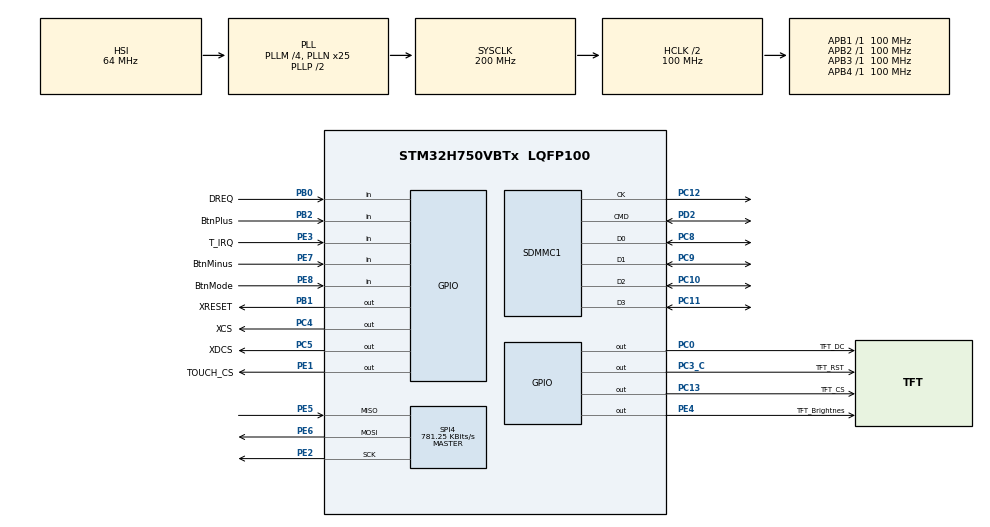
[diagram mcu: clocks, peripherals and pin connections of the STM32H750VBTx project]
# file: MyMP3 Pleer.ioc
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FATFS._CODE_PAGE=866
FATFS._FS_EXFAT=1
FATFS._MAX_SS=4096
FATFS._USE_FIND=1
FATFS._USE_LFN=2
FREERTOS.HEAP_NUMBER=4
FREERTOS.Tasks01=defaultTask,0,2048,StartDefaultTask,Default,NULL,Dynamic,NULL,NULL;myTask02,-3,512,StartTask02,Default,NULL,Dynamic,NULL,NULL;myTask03,-3,128,StartTask03,Default,NULL,Dynamic,NULL,NULL
FREERTOS.configENABLE_FPU=1
FREERTOS.configTOTAL_HEAP_SIZE=30480
Mcu.Family=STM32H7
Mcu.Name=STM32H750VBTx
Mcu.Package=LQFP100
NVIC.PriorityGroup=NVIC_PRIORITYGROUP_4
NVIC.SDMMC1_IRQn=true\:5\:0\:false\:false\:true\:true\:true\:true
NVIC.TIM1_UP_IRQn=true\:15\:0\:false\:false\:true\:false\:false\:true
NVIC.TimeBase=TIM1_UP_IRQn
NVIC.TimeBaseIP=TIM1
PA13\ (JTMS/SWDIO).Mode=Serial_Wire
PA13\ (JTMS/SWDIO).Signal=DEBUG_JTMS-SWDIO
PA14\ (JTCK/SWCLK).Mode=Serial_Wire
PA14\ (JTCK/SWCLK).Signal=DEBUG_JTCK-SWCLK
PB0.GPIO_Label=DREQ
PB0.Signal=GPIO_Input
PB1.GPIO_Label=XRESET
PB1.GPIO_PuPd=GPIO_NOPULL
PB1.GPIO_Speed=GPIO_SPEED_FREQ_MEDIUM
PB1.PinState=GPIO_PIN_SET
PB1.Signal=GPIO_Output
PB2.GPIO_Label=BtnPlus
PB2.GPIO_PuPd=GPIO_PULLUP
PB2.Signal=GPIO_Input
PC0.GPIO_Label=TFT_DC
PC0.GPIO_Speed=GPIO_SPEED_FREQ_HIGH
PC0.Signal=GPIO_Output
PC10.GPIO_PuPd=GPIO_PULLUP
PC10.Mode=SD_4_bits_Wide_bus
PC10.Signal=SDMMC1_D2
PC11.GPIO_PuPd=GPIO_PULLUP
PC11.Mode=SD_4_bits_Wide_bus
PC11.Signal=SDMMC1_D3
PC12.GPIO_PuPd=GPIO_NOPULL
PC12.Mode=SD_4_bits_Wide_bus
PC12.Signal=SDMMC1_CK
PC13.GPIO_Label=TFT_CS
PC13.GPIO_Speed=GPIO_SPEED_FREQ_LOW
PC13.PinState=GPIO_PIN_SET
PC13.Signal=GPIO_Output
PC3_C.GPIO_Label=TFT_RST
PC3_C.GPIO_Speed=GPIO_SPEED_FREQ_HIGH
PC3_C.Signal=GPIO_Output
PC4.GPIO_Label=XCS
PC4.GPIO_Speed=GPIO_SPEED_FREQ_HIGH
PC4.PinState=GPIO_PIN_SET
PC4.Signal=GPIO_Output
PC5.GPIO_Label=XDCS
PC5.GPIO_Speed=GPIO_SPEED_FREQ_HIGH
PC5.PinState=GPIO_PIN_SET
PC5.Signal=GPIO_Output
PC8.GPIO_PuPd=GPIO_PULLUP
PC8.Mode=SD_4_bits_Wide_bus
PC8.Signal=SDMMC1_D0
PC9.GPIO_PuPd=GPIO_PULLUP
PC9.Mode=SD_4_bits_Wide_bus
PC9.Signal=SDMMC1_D1
PD2.GPIO_PuPd=GPIO_PULLUP
PD2.Mode=SD_4_bits_Wide_bus
PD2.Signal=SDMMC1_CMD
PE1.GPIO_Label=TOUCH_CS
PE1.GPIO_Speed=GPIO_SPEED_FREQ_HIGH
PE1.PinState=GPIO_PIN_SET
PE1.Signal=GPIO_Output
PE2.GPIO_Speed=GPIO_SPEED_FREQ_HIGH
PE2.Mode=Full_Duplex_Master
PE2.Signal=SPI4_SCK
PE3.GPIO_Label=T_IRQ
PE3.Signal=GPIO_Input
PE4.GPIO_Label=TFT_Brightnes
PE4.PinState=GPIO_PIN_SET
PE4.Signal=GPIO_Output
PE5.GPIO_Speed=GPIO_SPEED_FREQ_HIGH
PE5.Mode=Full_Duplex_Master
PE5.Signal=SPI4_MISO
PE6.GPIO_Speed=GPIO_SPEED_FREQ_HIGH
PE6.Mode=Full_Duplex_Master
PE6.Signal=SPI4_MOSI
PE7.GPIO_Label=BtnMinus
PE7.GPIO_PuPd=GPIO_PULLUP
PE7.Signal=GPIO_Input
PE8.GPIO_Label=BtnMode
PE8.GPIO_PuPd=GPIO_PULLUP
PE8.Signal=GPIO_Input
PH0-OSC_IN\ (PH0).Mode=HSE-External-Oscillator
PH0-OSC_IN\ (PH0).Signal=RCC_OSC_IN
PH1-OSC_OUT\ (PH1).Mode=HSE-External-Oscillator
PH1-OSC_OUT\ (PH1).Signal=RCC_OSC_OUT
ProjectManager.HeapSize=0x6000
ProjectManager.StackSize=0x3000
ProjectManager.TargetToolchain=MDK-ARM V5.32
RCC.ADCFreq_Value=40000000
RCC.APB1Freq_Value=100000000
RCC.APB2Freq_Value=100000000
RCC.APB3Freq_Value=100000000
RCC.APB4Freq_Value=100000000
RCC.CortexFreq_Value=200000000
RCC.DIVM1=4
RCC.DIVN1=25
RCC.DIVN2=100
RCC.DIVP2=5
RCC.DIVQ1=4
RCC.DIVQ2=4
RCC.HCLKFreq_Value=100000000
RCC.HPRE=RCC_HCLK_DIV2
RCC.HSE_VALUE=12000000
RCC.PLL1_VCO_SEL=RCC_PLL1VCOWIDE
RCC.PLL2FRACN=0
RCC.PLL3FRACN=0
RCC.PLLFRACN=0
RCC.SPI123CLockSelection=RCC_SPI123CLKSOURCE_PLL2
RCC.SYSCLKFreq_VALUE=200000000
RCC.SYSCLKSource=RCC_SYSCLKSOURCE_PLLCLK
RCC.Spi45ClockSelection=RCC_SPI45CLKSOURCE_PLL2
RCC.USBFreq_Value=100000000
SDMMC1.ClockDiv=10
SPI4.BaudRatePrescaler=SPI_BAUDRATEPRESCALER_64
SPI4.CalculateBaudRate=781.25 KBits/s
SPI4.DataSize=SPI_DATASIZE_8BIT
SPI4.Direction=SPI_DIRECTION_2LINES
SPI4.Mode=SPI_MODE_MASTER
SPI4.VirtualType=VM_MASTER
VP_FATFS_VS_SDIO.Mode=SDIO
VP_FREERTOS_VS_CMSIS_V1.Mode=CMSIS_V1
VP_SYS_VS_tim1.Mode=TIM1
board=custom

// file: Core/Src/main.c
/* USER CODE BEGIN Header */
/**
  ******************************************************************************
  * @file           : main.c
  * @brief          : Main program body
  ******************************************************************************
  * @attention
  *
  * Copyright (c) 2024 STMicroelectronics.
  * All rights reserved.
  *
  * This software is licensed under terms that can be found in the LICENSE file
  * in the root directory of this software component.
  * If no LICENSE file comes with this software, it is provided AS-IS.
  *
  ******************************************************************************
  */
/* USER CODE END Header */
#include "main.h"
#include "cmsis_os.h"
#include "fatfs.h"

/* USER CODE BEGIN Includes */
#include "MyVS1053b.h"
#include "MySPI.h"
#include "MyCommonFCs.h"
#include "SPI_ILI9341.h"
#include "Buttons.h"
#include "xpt2046.h"
/* USER CODE END Includes */

SD_HandleTypeDef hsd1;

SPI_HandleTypeDef hspi4;

osThreadId defaultTaskHandle;
osThreadId myTask02Handle;
osThreadId myTask03Handle;
/* USER CODE BEGIN PV */

uint8_t SPI_RX_DATA[8] = {};
uint8_t SPI_TX_DATA[8] = {vs_READ,vs_MODE,0,0}; //vs_STATUS vs_MODE
uint8_t PlaybackBuf[_MAX_SS] = {};
FRESULT SdOpRes;
FRESULT fr;     /* Return value */
FRESULT fileReadResult;		// Результат выполнения фуекции чтения файла
UINT ByteWriten = 0;
SCI_StatusTypedef SCI_Status = SCI_Ok;
uint16_t SciRegContent = 0;
uint32_t BtnPlusCounter = 0;
uint32_t BtnMinusCounter = 0;
uint32_t BtnModeCounter = 0;
BtnStateTypedef BtnPlusState;
BtnStateTypedef BtnMinusState;
BtnStateTypedef BtnModeState = BtnReset;
BtnStateTypedef BtnModeStateOld = BtnReset;
//uint16_t i,j;
extern uint16_t TFT9341_WIDTH;
extern uint16_t TFT9341_HEIGHT;

uint8_t FrameBufer[MyDisplWidth * MyDisplHeight * 2] = {};

	// Переменные для тачскрина
  uint8_t flag_press = 1;
  uint32_t time_press = 0;
  uint16_t x_toch = 0;
  uint16_t y_toch = 0;

	RequestsTypedef FrBufSendReq = NoReq; // Флаг запроса отправки кадрового буфера
	RequestsTypedef NextTrackReq = NoReq; // Флаг запроса следующего трека
	RequestsTypedef PauseReq = NoReq; 		// Флаг запроса паузы
	RequestsTypedef PlayPauseDrawReq = NoReq; // Флаг запроса отрисовки кнопки Play/Pause
	uint32_t PauseReqDelay = 1500;
	RequestsTypedef VolChangeReq = NoReq; // Флаг запроса изменения громкости
	RequestsTypedef VolDrawReq = NoReq; // Флаг запроса отрисовки полосы громкости
	RequestsTypedef PrintPageReq = ThereIsReq; // Флаг запроса печати новой страницы на экран
	RequestsTypedef HighlightingReq = ThereIsReq; // Флаг запроса выделения строки на экране
	RequestsTypedef EqualizerChangeReq = NoReq; 	// Флаг запроса изменения параметров эквалайзера

	uint8_t VolumeCurrent = 30; // Текущее значение громкости
	uint32_t CurrentPlayFile = 0;		// Порядковый номер Текущего воспроизводимого файла

	FilManParamTypedef FilManParam={
		.MountState = CardIsUnmounted,
		.FrBuf = FrameBufer,
		.FirstPrintedItem = 0,
		.HighlightedItemNumber = 0,
		.OpenDirState = DirClosed,
		.RreadDirState = DirNotRread,
		.FileOpenState = FileNotOpened,
		.FileSize = 0,
		.FileSizeRead = 0,
		.PlaybackBufBytesFilled = 0,
		.BytesRead = 0,
		.PlaybackBufTxIndex = 0,
		.Screen = MainScreen,
		.DrawHF_GainBarReq = NoReq, 	// Флаг запроса печати бара усиления высоких частот
		.DrawHF_BorderBarReq = NoReq, // Флаг запроса печати бара границы высоких частот
		.DrawLF_GainBarReq = NoReq,   // Флаг запроса печати бара усиления низких частот
		.DrawLF_BorderBarReq = NoReq, // Флаг запроса печати бара границы низких частот
		.ProgressDrawReq= NoReq, 			// Флаг запроса отрисовки полосы воспроизведения файла

	};

	uint32_t DirItemsCounter = 0;
	uint8_t HF_Gain = 0x01;
	uint8_t HF_Border =0x04;
	uint8_t LF_Gain = 0x01;
	uint8_t LF_Border = 0x08;
	uint32_t ProgressTimer = 5000;
	uint8_t DisplayState = 1;
	uint8_t DisplDelay = 0;
	RequestsTypedef DisplOnOffReq = NoReq; 	// Флаг запроса вкл/выкл дисплея

/* USER CODE END PV */

void SystemClock_Config(void);
static void MX_GPIO_Init(void);
static void MX_SDMMC1_SD_Init(void);
static void MX_SPI4_Init(void);
void StartDefaultTask(void const * argument);
void StartTask02(void const * argument);
void StartTask03(void const * argument);

int main(void)
{

  /* MCU Configuration--------------------------------------------------------*/

  /* Reset of all peripherals, Initializes the Flash interface and the Systick. */
  HAL_Init();

  /* Configure the system clock */
  SystemClock_Config();

  /* Initialize all configured peripherals */
  MX_GPIO_Init();
  MX_SDMMC1_SD_Init();
  MX_FATFS_Init();
  MX_SPI4_Init();

  /* Create the thread(s) */
  /* definition and creation of defaultTask */
  osThreadDef(defaultTask, StartDefaultTask, osPriorityNormal, 0, 2048);
  defaultTaskHandle = osThreadCreate(osThread(defaultTask), NULL);

  /* definition and creation of myTask02 */
  osThreadDef(myTask02, StartTask02, osPriorityIdle, 0, 512);
  myTask02Handle = osThreadCreate(osThread(myTask02), NULL);

  /* definition and creation of myTask03 */
  osThreadDef(myTask03, StartTask03, osPriorityIdle, 0, 128);
  myTask03Handle = osThreadCreate(osThread(myTask03), NULL);

  /* Start scheduler */
  osKernelStart();

  /* We should never get here as control is now taken by the scheduler */
  /* Infinite loop */
  while (1)
  {

  }
}

void SystemClock_Config(void)
{
  RCC_OscInitTypeDef RCC_OscInitStruct = {0};
  RCC_ClkInitTypeDef RCC_ClkInitStruct = {0};

  /** Supply configuration update enable
  */
  HAL_PWREx_ConfigSupply(PWR_LDO_SUPPLY);
  /** Configure the main internal regulator output voltage
  */
  __HAL_PWR_VOLTAGESCALING_CONFIG(PWR_REGULATOR_VOLTAGE_SCALE3);

  while(!__HAL_PWR_GET_FLAG(PWR_FLAG_VOSRDY)) {}
  /** Macro to configure the PLL clock source
  */
  __HAL_RCC_PLL_PLLSOURCE_CONFIG(RCC_PLLSOURCE_HSI);
  /** Initializes the RCC Oscillators according to the specified parameters
  * in the RCC_OscInitTypeDef structure.
  */
  RCC_OscInitStruct.OscillatorType = RCC_OSCILLATORTYPE_HSI;
  RCC_OscInitStruct.HSIState = RCC_HSI_DIV1;
  RCC_OscInitStruct.HSICalibrationValue = RCC_HSICALIBRATION_DEFAULT;
  RCC_OscInitStruct.PLL.PLLState = RCC_PLL_ON;
  RCC_OscInitStruct.PLL.PLLSource = RCC_PLLSOURCE_HSI;
  RCC_OscInitStruct.PLL.PLLM = 4;
  RCC_OscInitStruct.PLL.PLLN = 25;
  RCC_OscInitStruct.PLL.PLLP = 2;
  RCC_OscInitStruct.PLL.PLLQ = 4;
  RCC_OscInitStruct.PLL.PLLR = 2;
  RCC_OscInitStruct.PLL.PLLRGE = RCC_PLL1VCIRANGE_3;
  RCC_OscInitStruct.PLL.PLLVCOSEL = RCC_PLL1VCOWIDE;
  RCC_OscInitStruct.PLL.PLLFRACN = 0;
  if (HAL_RCC_OscConfig(&RCC_OscInitStruct) != HAL_OK)
  {
    Error_Handler();
  }
  /** Initializes the CPU, AHB and APB buses clocks
  */
  RCC_ClkInitStruct.ClockType = RCC_CLOCKTYPE_HCLK|RCC_CLOCKTYPE_SYSCLK
                              |RCC_CLOCKTYPE_PCLK1|RCC_CLOCKTYPE_PCLK2
                              |RCC_CLOCKTYPE_D3PCLK1|RCC_CLOCKTYPE_D1PCLK1;
  RCC_ClkInitStruct.SYSCLKSource = RCC_SYSCLKSOURCE_PLLCLK;
  RCC_ClkInitStruct.SYSCLKDivider = RCC_SYSCLK_DIV1;
  RCC_ClkInitStruct.AHBCLKDivider = RCC_HCLK_DIV2;
  RCC_ClkInitStruct.APB3CLKDivider = RCC_APB3_DIV1;
  RCC_ClkInitStruct.APB1CLKDivider = RCC_APB1_DIV1;
  RCC_ClkInitStruct.APB2CLKDivider = RCC_APB2_DIV1;
  RCC_ClkInitStruct.APB4CLKDivider = RCC_APB4_DIV1;

  if (HAL_RCC_ClockConfig(&RCC_ClkInitStruct, FLASH_LATENCY_2) != HAL_OK)
  {
    Error_Handler();
  }
}

static void MX_SDMMC1_SD_Init(void)
{

  hsd1.Instance = SDMMC1;
  hsd1.Init.ClockEdge = SDMMC_CLOCK_EDGE_RISING;
  hsd1.Init.ClockPowerSave = SDMMC_CLOCK_POWER_SAVE_DISABLE;
  hsd1.Init.BusWide = SDMMC_BUS_WIDE_4B;
  hsd1.Init.HardwareFlowControl = SDMMC_HARDWARE_FLOW_CONTROL_DISABLE;
  hsd1.Init.ClockDiv = 10;

}

static void MX_SPI4_Init(void)
{

  /* SPI4 parameter configuration*/
  hspi4.Instance = SPI4;
  hspi4.Init.Mode = SPI_MODE_MASTER;
  hspi4.Init.Direction = SPI_DIRECTION_2LINES;
  hspi4.Init.DataSize = SPI_DATASIZE_8BIT;
  hspi4.Init.CLKPolarity = SPI_POLARITY_LOW;
  hspi4.Init.CLKPhase = SPI_PHASE_1EDGE;
  hspi4.Init.NSS = SPI_NSS_SOFT;
  hspi4.Init.BaudRatePrescaler = SPI_BAUDRATEPRESCALER_64;
  hspi4.Init.FirstBit = SPI_FIRSTBIT_MSB;
  hspi4.Init.TIMode = SPI_TIMODE_DISABLE;
  hspi4.Init.CRCCalculation = SPI_CRCCALCULATION_DISABLE;
  hspi4.Init.CRCPolynomial = 0x0;
  hspi4.Init.NSSPMode = SPI_NSS_PULSE_ENABLE;
  hspi4.Init.NSSPolarity = SPI_NSS_POLARITY_LOW;
  hspi4.Init.FifoThreshold = SPI_FIFO_THRESHOLD_01DATA;
  hspi4.Init.TxCRCInitializationPattern = SPI_CRC_INITIALIZATION_ALL_ZERO_PATTERN;
  hspi4.Init.RxCRCInitializationPattern = SPI_CRC_INITIALIZATION_ALL_ZERO_PATTERN;
  hspi4.Init.MasterSSIdleness = SPI_MASTER_SS_IDLENESS_00CYCLE;
  hspi4.Init.MasterInterDataIdleness = SPI_MASTER_INTERDATA_IDLENESS_00CYCLE;
  hspi4.Init.MasterReceiverAutoSusp = SPI_MASTER_RX_AUTOSUSP_DISABLE;
  hspi4.Init.MasterKeepIOState = SPI_MASTER_KEEP_IO_STATE_DISABLE;
  hspi4.Init.IOSwap = SPI_IO_SWAP_DISABLE;
  if (HAL_SPI_Init(&hspi4) != HAL_OK)
  {
    Error_Handler();
  }

}

static void MX_GPIO_Init(void)
{
  GPIO_InitTypeDef GPIO_InitStruct = {0};

  /* GPIO Ports Clock Enable */
  __HAL_RCC_GPIOE_CLK_ENABLE();
  __HAL_RCC_GPIOC_CLK_ENABLE();
  __HAL_RCC_GPIOH_CLK_ENABLE();
  __HAL_RCC_GPIOB_CLK_ENABLE();
  __HAL_RCC_GPIOA_CLK_ENABLE();
  __HAL_RCC_GPIOD_CLK_ENABLE();

  /*Configure GPIO pin Output Level */
  HAL_GPIO_WritePin(GPIOE, TFT_Brightnes_Pin|TOUCH_CS_Pin, GPIO_PIN_SET);

  /*Configure GPIO pin Output Level */
  HAL_GPIO_WritePin(GPIOC, TFT_CS_Pin|XCS_Pin|XDCS_Pin, GPIO_PIN_SET);

  /*Configure GPIO pin Output Level */
  HAL_GPIO_WritePin(GPIOC, TFT_DC_Pin|TFT_RST_Pin, GPIO_PIN_RESET);

  /*Configure GPIO pin Output Level */
  HAL_GPIO_WritePin(XRESET_GPIO_Port, XRESET_Pin, GPIO_PIN_SET);

  /*Configure GPIO pin : T_IRQ_Pin */
  GPIO_InitStruct.Pin = T_IRQ_Pin;
  GPIO_InitStruct.Mode = GPIO_MODE_INPUT;
  GPIO_InitStruct.Pull = GPIO_NOPULL;
  HAL_GPIO_Init(T_IRQ_GPIO_Port, &GPIO_InitStruct);

  /*Configure GPIO pin : TFT_Brightnes_Pin */
  GPIO_InitStruct.Pin = TFT_Brightnes_Pin;
  GPIO_InitStruct.Mode = GPIO_MODE_OUTPUT_PP;
  GPIO_InitStruct.Pull = GPIO_NOPULL;
  GPIO_InitStruct.Speed = GPIO_SPEED_FREQ_LOW;
  HAL_GPIO_Init(TFT_Brightnes_GPIO_Port, &GPIO_InitStruct);

  /*Configure GPIO pin : TFT_CS_Pin */
  GPIO_InitStruct.Pin = TFT_CS_Pin;
  GPIO_InitStruct.Mode = GPIO_MODE_OUTPUT_PP;
  GPIO_InitStruct.Pull = GPIO_NOPULL;
  GPIO_InitStruct.Speed = GPIO_SPEED_FREQ_LOW;
  HAL_GPIO_Init(TFT_CS_GPIO_Port, &GPIO_InitStruct);

  /*Configure GPIO pins : TFT_DC_Pin TFT_RST_Pin XCS_Pin XDCS_Pin */
  GPIO_InitStruct.Pin = TFT_DC_Pin|TFT_RST_Pin|XCS_Pin|XDCS_Pin;
  GPIO_InitStruct.Mode = GPIO_MODE_OUTPUT_PP;
  GPIO_InitStruct.Pull = GPIO_NOPULL;
  GPIO_InitStruct.Speed = GPIO_SPEED_FREQ_HIGH;
  HAL_GPIO_Init(GPIOC, &GPIO_InitStruct);

  /*Configure GPIO pin : DREQ_Pin */
  GPIO_InitStruct.Pin = DREQ_Pin;
  GPIO_InitStruct.Mode = GPIO_MODE_INPUT;
  GPIO_InitStruct.Pull = GPIO_NOPULL;
  HAL_GPIO_Init(DREQ_GPIO_Port, &GPIO_InitStruct);

  /*Configure GPIO pin : XRESET_Pin */
  GPIO_InitStruct.Pin = XRESET_Pin;
  GPIO_InitStruct.Mode = GPIO_MODE_OUTPUT_PP;
  GPIO_InitStruct.Pull = GPIO_NOPULL;
  GPIO_InitStruct.Speed = GPIO_SPEED_FREQ_MEDIUM;
  HAL_GPIO_Init(XRESET_GPIO_Port, &GPIO_InitStruct);

  /*Configure GPIO pin : BtnPlus_Pin */
  GPIO_InitStruct.Pin = BtnPlus_Pin;
  GPIO_InitStruct.Mode = GPIO_MODE_INPUT;
  GPIO_InitStruct.Pull = GPIO_PULLUP;
  HAL_GPIO_Init(BtnPlus_GPIO_Port, &GPIO_InitStruct);

  /*Configure GPIO pins : BtnMinus_Pin BtnMode_Pin */
  GPIO_InitStruct.Pin = BtnMinus_Pin|BtnMode_Pin;
  GPIO_InitStruct.Mode = GPIO_MODE_INPUT;
  GPIO_InitStruct.Pull = GPIO_PULLUP;
  HAL_GPIO_Init(GPIOE, &GPIO_InitStruct);

  /*Configure GPIO pin : TOUCH_CS_Pin */
  GPIO_InitStruct.Pin = TOUCH_CS_Pin;
  GPIO_InitStruct.Mode = GPIO_MODE_OUTPUT_PP;
  GPIO_InitStruct.Pull = GPIO_NOPULL;
  GPIO_InitStruct.Speed = GPIO_SPEED_FREQ_HIGH;
  HAL_GPIO_Init(TOUCH_CS_GPIO_Port, &GPIO_InitStruct);

}

/* USER CODE BEGIN 4 */
//__STATIC_INLINE void DelayMicro(uint32_t __IO micros)
//{
//  micros *=(SystemCoreClock/1000000)/5;
//  while(micros--);
//}
/* USER CODE END 4 */

void StartDefaultTask(void const * argument)
{
  /* USER CODE BEGIN 5 */
	SPI2InitSimplexTransmitter(0);
	TFT9341_ini(MyDisplWidth, MyDisplHeight);
	TFT9341_SetTextColor(TFT9341_BLUE);
  TFT9341_SetBackColor(TFT9341_BLACK);
  TFT9341_SetFont(&Font18);

	if(FilManParam.MountState == CardIsUnmounted)
	{
		if(f_mount(&SDFatFS, SDPath,1) == FR_OK)
		{
			FilManParam.MountState = CardIsMounted;
		}
		else
		{
			f_mount(NULL, SDPath,1);
			FilManParam.MountState = CardIsUnmounted;
			TFT9341_StringToBuf(FrameBufer,0,0 ,"Карта не смонтирована");
		}
	}

	GetItemNumberInThisDir(&FilManParam);
	if(PrintPageReq == ThereIsReq)
	{
		FileManager(&FilManParam); // Печать страницы с именами файлов на экран
		PrintPageReq = NoReq; 																				 // Сброс Флага запроса печати новой страницы на экран
	}
	//--------------------------------------------------- Отрисовка экрана ---------------------------------------------
	DrawPictureToBuf(FrameBufer, 0, 279, PreviousBtn, 40, 40); 					// Кнопка Previous
	DrawPictureToBuf(FrameBufer, 50, 279, PauseBtn, 40, 40);						// Кнопка Pause
	DrawPictureToBuf(FrameBufer, 100, 279, NextBtn, 40, 40);  					// Кнопка Next
	DrawPictureToBuf(FrameBufer, 150, 279, VolMinusBtn, 40, 40);  			// Кнопка VolMinus
	DrawPictureToBuf(FrameBufer, 199, 279, VolPlusBtn, 40, 40);  				// Кнопка VolPlus
	DrawVolToFrameBuf(FrameBufer, 165, 270, TFT9341_GREEN, TFT9341_BLACK, (float) VolumeCurrent);	// Полоса громкости
	//PrintScrolLine(FrameBufer, 222, 1, 216, TFT9341_BLUE, TFT9341_BLACK);	// Отрисовка полосы прокрутки
	//DrawPictureToBuf(FrameBufer, 155,230, PropertiesBtn, 30, 30);

	FrBufSendReq = ThereIsReq; // Запрос отправки на дисплей кадрового буфера
	//TFT9341_SendFrameBuf(FrameBufer, 0, 0, TFT9341_WIDTH-1, TFT9341_HEIGHT-1);
	//-------------------------------------------------------------------------------------------------------------------

		/* Infinite loop */
		for(;;)
		{
			if(DisplDelay > 0) DisplDelay--;

			if(PrintPageReq == ThereIsReq)
			{
				FileManager(&FilManParam); // Печать страницы с именами файлов на экран
				PrintPageReq = NoReq;
				FrBufSendReq = ThereIsReq;	// Запрос отправки на дисплей кадрового буфера
			}

			if(HighlightingReq == ThereIsReq) // Выделение воспроизводимого файла
			{
				Highlighting(&FilManParam, CurrentPlayFile);
				HighlightingReq = NoReq;
				FrBufSendReq = ThereIsReq;	// Запрос отправки на дисплей кадрового буфера
			}

			if(VolDrawReq) // Отрисовка полосы громкости
			{
				DrawVolToFrameBuf(FrameBufer, 165, 270, TFT9341_GREEN, TFT9341_BLACK, (float) VolumeCurrent);	// Полоса громкости
				FrBufSendReq = ThereIsReq;
				VolDrawReq = NoReq;
			}

			if(PlayPauseDrawReq)	// Отрисовка кнопок Play/Pause
			{
				if(PauseReq)
				{
					DrawPictureToBuf(FrameBufer, 50, 279, PlayBtn, 40, 40);											// Кнопка
					FrBufSendReq = ThereIsReq;
				}
				else
				{
					DrawPictureToBuf(FrameBufer, 50, 279, PauseBtn, 40, 40);										// Кнопка
					FrBufSendReq = ThereIsReq;
				}
				PlayPauseDrawReq = NoReq;
			}

			if(FilManParam.DrawHF_GainBarReq == ThereIsReq) // Печать бара усиления высоких частот
			{
				DrawBar(FrameBufer,45,36,150,18,0,7, HF_Gain , TFT9341_WHITE, TFT9341_BLACK);
				FilManParam.DrawHF_GainBarReq = NoReq;
				FrBufSendReq = ThereIsReq;
			}

			if(FilManParam.DrawHF_BorderBarReq == ThereIsReq) // Печать бара границы высоких частот
			{
				DrawBar(FrameBufer,45,90,150,18,0,15, HF_Border , TFT9341_WHITE, TFT9341_BLACK);
				FilManParam.DrawHF_BorderBarReq = NoReq;
				FrBufSendReq = ThereIsReq;
			}

			if(FilManParam.DrawLF_GainBarReq == ThereIsReq) // Печать бара усиления низких частот
			{
				DrawBar(FrameBufer,45,144,150,18,0,15, LF_Gain , TFT9341_WHITE, TFT9341_BLACK);
				FilManParam.DrawLF_GainBarReq = NoReq;
				FrBufSendReq = ThereIsReq;
			}

			if(FilManParam.DrawLF_BorderBarReq == ThereIsReq) // Печать бара границы низких частот
			{
				DrawBar(FrameBufer,45,197,150,18,0,15, LF_Border , TFT9341_WHITE, TFT9341_BLACK);
				FilManParam.DrawLF_BorderBarReq = NoReq;
				FrBufSendReq = ThereIsReq;
			}

			ProgressTimer++;
			if(FilManParam.ProgressDrawReq == ThereIsReq && ProgressTimer > 5000) // Отрисовка прогресс бара воспроизведения файла
			{
				DrawBar32(FrameBufer,5,264,150,6,0,(float)FilManParam.FileSize, (float)FilManParam.FileSizeRead, TFT9341_WHITE, TFT9341_BLACK);
				FilManParam.ProgressDrawReq = NoReq;
				ProgressTimer = 0;
				FrBufSendReq = ThereIsReq;
			}

			if(FrBufSendReq == ThereIsReq && SPI2_TransferInProcess == 0 && DisplDelay == 0 && DisplayState == 1)
			{
				TFT9341_SendFrameBuf(FrameBufer, 0, 0, TFT9341_WIDTH-1, TFT9341_HEIGHT-1); // Отправка кадрового буфера в дисплей
				FrBufSendReq = NoReq;
			}

			ReadFile(&FilManParam, &CurrentPlayFile);

			osDelay(1);
		}
  /* USER CODE END 5 */
}

void StartTask02(void const * argument)
{
  /* USER CODE BEGIN StartTask02 */

	//HardReset(VolumeCurrent);
	HardReset(VolumeCurrent,HF_Gain,HF_Border, LF_Gain,LF_Border);
//	ReadSCI_RegV2(vs_VOL, &SciRegContent);
//	ReadSCI_RegV2(vs_MODE, &SciRegContent);
//	ReadSCI_RegV2(vs_STATUS, &SciRegContent);
//	ReadSCI_RegV2(vs_CLOCKF, &SciRegContent);
//	ReadSCI_RegV2(vs_BASS, &SciRegContent);
	SoftReset();

  /* Infinite loop */
  for(;;)
  {
		if( ((SPI1->SR & SPI_SR_TXC)!=0)&&((SPI1->SR & SPI_SR_TXP)!=0)&&((DMA1->LISR & DMA_LISR_TCIF0)!=0)&&((DMA1->LISR & DMA_LISR_FEIF0)!=0)&&(PauseReq == NoReq) )
		{
			XCS_Set;
			XCS_Set;
			if((((SPI1->CFG2 & SPI_CFG2_COMM_Msk)>>SPI_CFG2_COMM_Pos) != 0x01)
			|| (((SPI1->CFG1 & SPI_CFG1_MBR_Msk)>>SPI_CFG1_MBR_Pos)!=0x04))	// Если трансмитер находится не в режиме 01: simplex transmitter или делитель не тот
			{
				SPI1InitSimplexTransmitterV2(0x04);		// То перевести его в этот режим
			}
			if((FilManParam.PlaybackBufBytesFilled > 0)&&(DREQ_State == GPIO_PIN_SET))	// Если в буфере есть данные не отправленные на кодек и кодек может принять данные
			{
				if(FilManParam.PlaybackBufBytesFilled > 32)	// Передача куска данных в 32 байта
				{
					XDCS_Reset;
					SPI1_DMA_TransmitV2(&PlaybackBuf[FilManParam.PlaybackBufTxIndex], 32);
					FilManParam.PlaybackBufTxIndex += 32;				// Сдвиг индекса на начало еще не отправленных данных
					FilManParam.PlaybackBufBytesFilled -=32;		// Уменьшение счетчика байт оставшихся в буфере
					while( ((SPI1->SR & SPI_SR_TXC)==0)||((SPI1->SR & SPI_SR_TXP)==0)||((DMA1->LISR & DMA_LISR_TCIF0)==0)||((DMA1->LISR & DMA_LISR_FEIF0)==0) )
					{
						__NOP();
					}
				}
				else
				{
					XDCS_Reset;
					SPI1_DMA_TransmitV2(&PlaybackBuf[FilManParam.PlaybackBufTxIndex], FilManParam.PlaybackBufBytesFilled); // Передача оставшихся данных
					while( ((SPI1->SR & SPI_SR_TXC)==0)||((SPI1->SR & SPI_SR_TXP)==0)||((DMA1->LISR & DMA_LISR_TCIF0)==0)||((DMA1->LISR & DMA_LISR_FEIF0)==0) )
					{
						__NOP();
					}
					FilManParam.PlaybackBufBytesFilled = 0;							// Обнуление количества байт, оставшихся в буфере
				}
				XDCS_Set;
			}
			if((FilManParam.PlaybackBufBytesFilled > 0)&&(DREQ_State == GPIO_PIN_SET))	// Если в буфере есть данные не отправленные на кодек и кодек может принять данные
			{
				if(FilManParam.PlaybackBufBytesFilled > 32)	// Передача куска данных в 32 байта
				{
					XDCS_Reset;
					SPI1_DMA_TransmitV2(&PlaybackBuf[FilManParam.PlaybackBufTxIndex], 32);
					FilManParam.PlaybackBufTxIndex += 32;				// Сдвиг индекса на начало еще не отправленных данных
					FilManParam.PlaybackBufBytesFilled -=32;		// Уменьшение счетчика байт оставшихся в буфере
				}
				else
				{
					XDCS_Reset;
					SPI1_DMA_TransmitV2(&PlaybackBuf[FilManParam.PlaybackBufTxIndex], FilManParam.PlaybackBufBytesFilled); // Передача оставшихся данных
					while( ((SPI1->SR & SPI_SR_TXC)==0)||((SPI1->SR & SPI_SR_TXP)==0)||((DMA1->LISR & DMA_LISR_TCIF0)==0)||((DMA1->LISR & DMA_LISR_FEIF0)==0) )
					{
						__NOP();
					}
					FilManParam.PlaybackBufBytesFilled = 0;							// Обнуление количества байт, оставшихся в буфере
				}
			}
		}
		if(VolChangeReq == ThereIsReq)
		{
			while( ((SPI1->SR & SPI_SR_TXC)==0)||((SPI1->SR & SPI_SR_TXP)==0)||((DMA1->LISR & DMA_LISR_TCIF0)==0)||((DMA1->LISR & DMA_LISR_FEIF0)==0) )
			{
				__NOP();
			}
			WriteSCI_RegV2(vs_VOL, VolumeCurrent, VolumeCurrent);
			VolChangeReq = NoReq;
		}

		if(EqualizerChangeReq == ThereIsReq) // Запрос изменения параметров эквалайзера
		{
			while( ((SPI1->SR & SPI_SR_TXC)==0)||((SPI1->SR & SPI_SR_TXP)==0)||((DMA1->LISR & DMA_LISR_TCIF0)==0)||((DMA1->LISR & DMA_LISR_FEIF0)==0) )
			{
				__NOP();
			}
			WriteSCI_Reg16(vs_BASS, (HF_Gain<<TREBLE_AMPLITUDE_pos | HF_Border<<TREBLE_FREQLIMIT_pos|LF_Gain<<BASS_AMPLITUDE_pos | LF_Border)/*0x7A18*/);
			EqualizerChangeReq = NoReq;
//			osDelay(1);
//			ReadSCI_RegV2(vs_BASS, &SciRegContent);
		}

    osDelay(1);
  }
  /* USER CODE END StartTask02 */
}

void StartTask03(void const * argument)
{
  /* USER CODE BEGIN StartTask03 */
	TOUCH_CS_UNSELECT; // это нужно только если есть тач
	/* Infinite loop */
  for(;;)
  {
		//------------------------------------------------ Кнопки физические -------------------------------------------------
		if(HAL_GPIO_ReadPin(BtnPlus_GPIO_Port, BtnPlus_Pin) == GPIO_PIN_RESET)
			BtnPlusCounter = (BtnPlusCounter < 250)? ++BtnPlusCounter : 250;
		else
			BtnPlusCounter = (BtnPlusCounter > 0)? --BtnPlusCounter : 0;

		if(HAL_GPIO_ReadPin(BtnMinus_GPIO_Port, BtnMinus_Pin) == GPIO_PIN_RESET)
			BtnMinusCounter = (BtnMinusCounter < 250)? ++BtnMinusCounter : 250;
		else
			BtnMinusCounter = (BtnMinusCounter > 0)? --BtnMinusCounter : 0;

		if(HAL_GPIO_ReadPin(BtnMode_GPIO_Port, BtnMode_Pin) == GPIO_PIN_RESET)
			BtnModeCounter = (BtnModeCounter < 200)? ++BtnModeCounter : 200;
		else
			BtnModeCounter = (BtnModeCounter > 0)? --BtnModeCounter : 0;

		if(BtnPlusCounter == 250)
		{
			BtnPlusState = BtnSet;
			BtnPlusCounter = 0;
			if(VolumeCurrent>=5)
			{
				VolumeCurrent -= 5;
			}
			VolChangeReq = ThereIsReq; // Флаг запроса изменения громкости
			VolDrawReq = ThereIsReq;   // Флаг запроса отрисовки громкости
		}
		if(BtnPlusCounter == 0) BtnPlusState = BtnReset;
		if(BtnMinusCounter == 250)
		{
			BtnMinusState = BtnSet;
			BtnMinusCounter = 0;
			if(VolumeCurrent < 150)
			{
				VolumeCurrent += 5;
			}
			VolChangeReq = ThereIsReq; // Флаг запроса изменения громкости
			VolDrawReq = ThereIsReq;		// Флаг запроса полоски громкости
		}
		if(BtnMinusCounter == 0) BtnMinusState = BtnReset;

		if(BtnModeCounter == 200) BtnModeState = BtnSet;
		if(BtnModeCounter == 0) BtnModeState = BtnReset;

		if((BtnModeState == BtnSet)&&(BtnModeStateOld == BtnReset))
		{
			DisplOnOffReq = ThereIsReq; 	// Флаг запроса вкл/выкл дисплея
		}
		BtnModeStateOld = BtnModeState;
		if(DisplOnOffReq==ThereIsReq && SPI2_TransferInProcess==0 && DisplDelay==0)
		{
			if(DisplayState == 1)
			{
				DisplOff();
				DisplayState = 0;
				DisplDelay = 5;
			}
			else
			{
				DisplOn();
				DisplayState = 1;
				DisplDelay = 120;
			}
			DisplOnOffReq = NoReq; 	// Флаг запроса вкл/выкл дисплея
		}

	//---------------------------- Это тачскрин ------------------------------------------------
	if(HAL_GPIO_ReadPin(T_IRQ_GPIO_Port, T_IRQ_Pin) == GPIO_PIN_RESET && flag_press && DisplayState == 1) // если нажат тачскрин
  {
	  x_toch = 0;
	  y_toch = 0;

	  TOUCH_CS_UNSELECT;
		ILI9341_TouchGetCoordinates(&x_toch, &y_toch);
		if(ILI9341_TouchGetCoordinates(&x_toch, &y_toch))
	  {
		  flag_press = 0;
	  }

		//-------------------------------------------------------- Здесь кнопки тача ---------------------------------------------------
		if(x_toch > 0 && x_toch < 50 && y_toch > 280 && y_toch < 320) // нажатие кнопки пущего трека
		{
			if(CurrentPlayFile > 0)
			{
				CurrentPlayFile--;
				HighlightingReq = ThereIsReq;
			}
			if(CurrentPlayFile < FilManParam.FirstPrintedItem)
			{
				if(FilManParam.FirstPrintedItem >= DisplPrintRows)
					FilManParam.FirstPrintedItem -= DisplPrintRows;
				else
					FilManParam.FirstPrintedItem = 0;

				PrintPageReq = ThereIsReq;
			}
			x_toch = 0;
			y_toch = 0;
		}
		else if(x_toch > 102 && x_toch < 140 && y_toch > 280 && y_toch < 320) // если нажата кнопка следующего трека
	  {
		  //NextTrackReq = ThereIsReq;
			if(CurrentPlayFile < FilManParam.DirItemsNumber-1)
			{
				CurrentPlayFile++;
				HighlightingReq = ThereIsReq;
			}
			if(CurrentPlayFile >= (FilManParam.FirstPrintedItem + DisplPrintRows))
			{
				FilManParam.FirstPrintedItem = CurrentPlayFile;
				PrintPageReq = ThereIsReq;
			}
			x_toch = 0;
			y_toch = 0;
	  }
	  else if(x_toch > 50 && x_toch < 89 && y_toch > 280 && y_toch < 320 && PauseReqDelay == 0) // нажатие кнопки плей Пауза
	  {
			PauseReqDelay = 1500;
			if(PauseReq)
			{
				PauseReq = NoReq; 						 // Флаг запроса паузы
				PlayPauseDrawReq = ThereIsReq; // Флаг запроса отрисовки кнопки Play/Pause
			}
			else
			{
				PauseReq = ThereIsReq; 				 // Флаг запроса паузы
				PlayPauseDrawReq = ThereIsReq; // Флаг запроса отрисовки кнопки Play/Pause
			}
		  x_toch = 0;
			y_toch = 0;
	  }
		else if(x_toch > 208 && x_toch < 237 && y_toch > 280 && y_toch < 320) // нажатие кнопки Vol+
	  {
			if(VolumeCurrent>=5)
			{
				VolumeCurrent -= 5;
			}
			x_toch = 0;
			y_toch = 0;
			VolChangeReq = ThereIsReq; // Флаг запроса изменения громкости
			VolDrawReq = ThereIsReq;   // Флаг запроса отрисовки громкости
		}
		else if(x_toch > 157 && x_toch < 190 && y_toch > 280 && y_toch < 320) // нажатие кнопки Vol-
	  {
			if(VolumeCurrent < 150)
			{
				VolumeCurrent += 5;
			}
			x_toch = 0;
			y_toch = 0;
			VolChangeReq = ThereIsReq; // Флаг запроса изменения громкости
			VolDrawReq = ThereIsReq;		// Флаг запроса полоски громкости
		}
		else if(x_toch > 1 && x_toch < 40 && y_toch > 225 && y_toch < 256) // Выбор страницы Основная/Эквалайзер
		{
			if(FilManParam.Screen == MainScreen)
			{
				FilManParam.Screen = EqualizerScreen;

				PrintPageReq = ThereIsReq;	// Запрос отрисовки страницы
				FrBufSendReq = ThereIsReq;	// Запрос отправки на дисплей кадрового буфера
			}
			else
			{
				FilManParam.Screen = MainScreen;

				PrintPageReq = ThereIsReq;		// Запрос отрисовки страницы
				HighlightingReq = ThereIsReq; // Выделение воспроизводимого файла
				FrBufSendReq = ThereIsReq;		// Запрос отправки на дисплей кадрового буфера
			}
			x_toch = 0;
			y_toch = 0;
		}

		if(FilManParam.Screen == MainScreen)
		{
			if(x_toch > 0 && x_toch < 180 && y_toch > 0 && y_toch < 16) // Строка 0
			{
				CurrentPlayFile = FilManParam.FirstPrintedItem;
				HighlightingReq = ThereIsReq;
				x_toch = 0;
				y_toch = 0;
			}
			else if(x_toch > 0 && x_toch < 180 && y_toch > 20 && y_toch < 34) // Строка 1
			{
				if((FilManParam.FirstPrintedItem+1)<FilManParam.DirItemsNumber)
				{
					CurrentPlayFile = FilManParam.FirstPrintedItem + 1;
					HighlightingReq = ThereIsReq;
				}
				x_toch = 0;
				y_toch = 0;
			}
			else if(x_toch > 0 && x_toch < 180 && y_toch > 38 && y_toch < 52) // Строка 2
			{
				if((FilManParam.FirstPrintedItem+2)<FilManParam.DirItemsNumber)
				{
					CurrentPlayFile = FilManParam.FirstPrintedItem + 2;
					HighlightingReq = ThereIsReq;
				}
				x_toch = 0;
				y_toch = 0;
			}
			else if(x_toch > 0 && x_toch < 180 && y_toch > 56 && y_toch < 70) // Строка 3
			{
				if((FilManParam.FirstPrintedItem+3)<FilManParam.DirItemsNumber)
				{
					CurrentPlayFile = FilManParam.FirstPrintedItem + 3;
					HighlightingReq = ThereIsReq;
				}
				x_toch = 0;
				y_toch = 0;
			}
			else if(x_toch > 0 && x_toch < 180 && y_toch > 74 && y_toch < 88) // Строка 4
			{
				if((FilManParam.FirstPrintedItem+4)<FilManParam.DirItemsNumber)
				{
					CurrentPlayFile = FilManParam.FirstPrintedItem + 4;
					HighlightingReq = ThereIsReq;
				}
				x_toch = 0;
				y_toch = 0;
			}
			else if(x_toch > 0 && x_toch < 180 && y_toch > 92 && y_toch < 106) // Строка 5
			{
				if((FilManParam.FirstPrintedItem+5)<FilManParam.DirItemsNumber)
				{
					CurrentPlayFile = FilManParam.FirstPrintedItem + 5;
					HighlightingReq = ThereIsReq;
				}
				x_toch = 0;
				y_toch = 0;
			}
			else if(x_toch > 0 && x_toch < 180 && y_toch > 110 && y_toch < 124) // Строка 6
			{
				if((FilManParam.FirstPrintedItem+6)<FilManParam.DirItemsNumber)
				{
					CurrentPlayFile = FilManParam.FirstPrintedItem + 6;
					HighlightingReq = ThereIsReq;
				}
				x_toch = 0;
				y_toch = 0;
			}
			else if(x_toch > 0 && x_toch < 180 && y_toch > 128 && y_toch < 142) // Строка 7
			{
				if((FilManParam.FirstPrintedItem+7)<FilManParam.DirItemsNumber)
				{
					CurrentPlayFile = FilManParam.FirstPrintedItem + 7;
					HighlightingReq = ThereIsReq;
				}
				x_toch = 0;
				y_toch = 0;
			}
			else if(x_toch > 0 && x_toch < 180 && y_toch > 146 && y_toch < 160) // Строка 8
			{
				if((FilManParam.FirstPrintedItem+8)<FilManParam.DirItemsNumber)
				{
					CurrentPlayFile = FilManParam.FirstPrintedItem + 8;
					HighlightingReq = ThereIsReq;
				}
				x_toch = 0;
				y_toch = 0;
			}
			else if(x_toch > 0 && x_toch < 180 && y_toch > 164 && y_toch < 178) // Строка 9
			{
				if((FilManParam.FirstPrintedItem+9)<FilManParam.DirItemsNumber)
				{
					CurrentPlayFile = FilManParam.FirstPrintedItem + 9;
					HighlightingReq = ThereIsReq;
				}
				x_toch = 0;
				y_toch = 0;
			}
			else if(x_toch > 0 && x_toch < 180 && y_toch > 182 && y_toch < 196) // Строка 10
			{
				if((FilManParam.FirstPrintedItem+10)<FilManParam.DirItemsNumber)
				{
					CurrentPlayFile = FilManParam.FirstPrintedItem + 10;
					HighlightingReq = ThereIsReq;
				}
				x_toch = 0;
				y_toch = 0;
			}
			else if(x_toch > 0 && x_toch < 180 && y_toch > 200 && y_toch < 214) // Строка 11
			{
				if((FilManParam.FirstPrintedItem+11)<FilManParam.DirItemsNumber)
				{
					CurrentPlayFile = FilManParam.FirstPrintedItem + 11;
					HighlightingReq = ThereIsReq;
				}
				x_toch = 0;
				y_toch = 0;
			}
			else if(x_toch > 200 && x_toch < 240 && y_toch > 0 && y_toch < 18) // нажатие стрелки прокрутки вверх
			{
				if(FilManParam.FirstPrintedItem >= DisplPrintRows)
					FilManParam.FirstPrintedItem -= DisplPrintRows;
				else
					FilManParam.FirstPrintedItem = 0;
				PrintPageReq = ThereIsReq;
				HighlightingReq = ThereIsReq;
				x_toch = 0;
				y_toch = 0;
			}
			else if(x_toch > 200 && x_toch < 240 && y_toch > 190 && y_toch < 220) // нажатие стрелки прокрутки вниз
			{
				if((FilManParam.FirstPrintedItem + DisplPrintRows)< FilManParam.DirItemsNumber)
				{
					FilManParam.FirstPrintedItem += DisplPrintRows;
					PrintPageReq = ThereIsReq;
					HighlightingReq = ThereIsReq;
				}
				x_toch = 0;
				y_toch = 0;
			}
		}
		//**************** Если выбрана страница эквалайзера *****************
		else if(FilManParam.Screen == EqualizerScreen)
		{
			if(x_toch > 200 && x_toch < 225 && y_toch > 36 && y_toch < 54) // + Усиление высоких частот
			{
				if(HF_Gain < 7)
				{
					HF_Gain++;
					FilManParam.DrawHF_GainBarReq = ThereIsReq;
					EqualizerChangeReq = ThereIsReq; 	// Флаг запроса изменения параметров эквалайзера
				}
				x_toch = 0;
				y_toch = 0;
			}
			else if(x_toch > 15 && x_toch < 40 && y_toch > 36 && y_toch < 54) // - Усиление высоких частот
			{
				if(HF_Gain > 0)
				{
					HF_Gain--;
					FilManParam.DrawHF_GainBarReq = ThereIsReq;
					EqualizerChangeReq = ThereIsReq; 	// Флаг запроса изменения параметров эквалайзера
				}
				x_toch = 0;
				y_toch = 0;
			}
			else if(x_toch > 200 && x_toch < 225 && y_toch > 85 && y_toch < 113) // + Граница высоких частот
			{
				if(HF_Border < 15)
				{
					HF_Border++;
					FilManParam.DrawHF_BorderBarReq = ThereIsReq;
					EqualizerChangeReq = ThereIsReq; 	// Флаг запроса изменения параметров эквалайзера
				}
				x_toch = 0;
				y_toch = 0;
			}
			else if(x_toch > 15 && x_toch < 40 && y_toch > 85 && y_toch < 113) // - Граница высоких частот
			{
				if(HF_Border > 1)
				{
					HF_Border--;
					FilManParam.DrawHF_BorderBarReq = ThereIsReq;
					EqualizerChangeReq = ThereIsReq; 	// Флаг запроса изменения параметров эквалайзера
				}
				x_toch = 0;
				y_toch = 0;
			}
			else if(x_toch > 200 && x_toch < 225 && y_toch > 138 && y_toch < 163) // + Усиление низких частот
			{
				if(LF_Gain < 15)
				{
					LF_Gain++;
					FilManParam.DrawLF_GainBarReq = ThereIsReq;
					EqualizerChangeReq = ThereIsReq; 	// Флаг запроса изменения параметров эквалайзера
				}
				x_toch = 0;
				y_toch = 0;
			}
			else if(x_toch > 15 && x_toch < 40 && y_toch > 138 && y_toch < 163) // - Усиление низких частот
			{
				if(LF_Gain > 0)
				{
					LF_Gain--;
					FilManParam.DrawLF_GainBarReq = ThereIsReq;
					EqualizerChangeReq = ThereIsReq; 	// Флаг запроса изменения параметров эквалайзера
				}
				x_toch = 0;
				y_toch = 0;
			}
			else if(x_toch > 200 && x_toch < 225 && y_toch > 195 && y_toch < 218) // + Граница низких частот
			{
				if(LF_Border < 15)
				{
					LF_Border++;
					FilManParam.DrawLF_BorderBarReq = ThereIsReq;
					EqualizerChangeReq = ThereIsReq; 	// Флаг запроса изменения параметров эквалайзера
				}
				x_toch = 0;
				y_toch = 0;
			}
			else if(x_toch > 15 && x_toch < 40 && y_toch > 195 && y_toch < 218) // - Граница низких частот
			{
				if(LF_Border > 2)
				{
					LF_Border--;
					FilManParam.DrawLF_BorderBarReq = ThereIsReq;
					EqualizerChangeReq = ThereIsReq; 	// Флаг запроса изменения параметров эквалайзера
				}
				x_toch = 0;
				y_toch = 0;
			}
		}

	  time_press = HAL_GetTick();
  }

	//--------------------------------------------------------------------------------------------------

	if(!flag_press && (HAL_GetTick() - time_press) > 250) // задержка до следующего нажатия
  {
	  flag_press = 1;
  }

	if(PauseReqDelay > 0) {PauseReqDelay--;}

    osDelay(1);
  }
  /* USER CODE END StartTask03 */
}

void HAL_TIM_PeriodElapsedCallback(TIM_HandleTypeDef *htim)
{
  if (htim->Instance == TIM1) {
    HAL_IncTick();
  }
}

void Error_Handler(void)
{
  __disable_irq();
  while (1)
  {
  }
}
